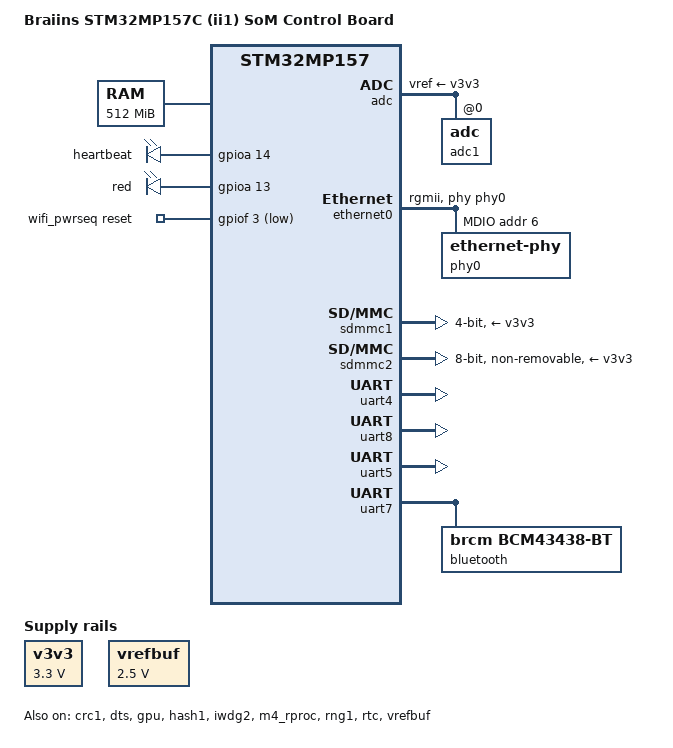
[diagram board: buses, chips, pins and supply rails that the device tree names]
// SPDX-License-Identifier: (GPL-2.0+ OR BSD-3-Clause)
/*
 * Copyright (C) STMicroelectronics 2018 - All Rights Reserved
 * Author: Alexandre Torgue <alexandre.torgue@st.com>.
 */

/dts-v1/;

#include "stm32mp157.dtsi"
#include "stm32mp15xa.dtsi"
#include "stm32mp157c-ii1_som-pinctrl.dtsi"
#include "stm32mp15xxac-pinctrl.dtsi"
#include "stm32mp15-m4-srm.dtsi"

/ {
	model = "Braiins STM32MP157C (ii1) SoM Control Board";
	compatible = "braiins,ii1-stm\0st,stm32mp157";

	aliases {
		ethernet0 = &ethernet0;
		serial0 = &uart4;
		serial2 = &uart8;//rs232
		serial3 = &uart5;//rs485
		serial4 = &uart7;//bt
	};

	chosen {
		stdout-path = "serial0:115200n8";
	};

	memory@c0000000 {
		device_type = "memory";
		reg = <0xc0000000 0x20000000>;
	};

	reserved-memory {
		#address-cells = <1>;
		#size-cells = <1>;
		ranges;

		mcuram2: mcuram2@10000000 {
			compatible = "shared-dma-pool";
			reg = <0x10000000 0x40000>;
			no-map;
		};

		vdev0vring0: vdev0vring0@10040000 {
			compatible = "shared-dma-pool";
			reg = <0x10040000 0x1000>;
			no-map;
		};

		vdev0vring1: vdev0vring1@10041000 {
			compatible = "shared-dma-pool";
			reg = <0x10041000 0x1000>;
			no-map;
		};

		vdev0buffer: vdev0buffer@10042000 {
			compatible = "shared-dma-pool";
			reg = <0x10042000 0x4000>;
			no-map;
		};

		mcuram: mcuram@30000000 {
			compatible = "shared-dma-pool";
			reg = <0x30000000 0x40000>;
			no-map;
		};

		retram: retram@38000000 {
			compatible = "shared-dma-pool";
			reg = <0x38000000 0x10000>;
			no-map;
		};

		gpu_reserved: gpu@da000000 {
			reg = <0xda000000 0x4000000>;
			no-map;
		};
	};

	led {
		compatible = "gpio-leds";
		led-blue {
			label = "heartbeat";
			gpios = <&gpioa 14 GPIO_ACTIVE_HIGH>;
			linux,default-trigger = "heartbeat";
			default-state = "off";
		};

		led-red {
			label = "red";
			gpios = <&gpioa 13 GPIO_ACTIVE_HIGH>;
			linux,default-trigger = "none";
			status = "okay";
		};
	};

	v3v3: regulator-v3v3 {
		compatible = "regulator-fixed";
		regulator-name = "v3v3";
		regulator-min-microvolt = <3300000>;
		regulator-max-microvolt = <3300000>;
		regulator-always-on;
	};

	wifi_pwrseq: wifi-pwrseq {
		compatible = "mmc-pwrseq-simple";
		reset-gpios = <&gpiof 3 GPIO_ACTIVE_LOW>;
	};
};

&adc {
	pinctrl-names = "default";
	pinctrl-0 = <&adc1_in6_pins_a>;
	vdd-supply = <&v3v3>;
	vdda-supply = <&v3v3>;
	vref-supply = <&v3v3>;
	status = "okay";

	adc1: adc@0 {
		st,min-sample-time-nsecs = <10000>;
		st,adc-channels = <6>;
		status = "okay";
	};

	adc2: adc@100 {
		status = "disable";
	};

	adc_temp: temp {
		status = "okay";
	};
};

&crc1 {
	status = "okay";
};

/*
&dma1 {
	sram = <&dma_pool>;
};

&dma2 {
	sram = <&dma_pool>;
};
*/

&dts {
	status = "okay";
};

/*g ethernet*/
&ethernet0 {
	status = "okay";
	pinctrl-0 = <&ethernet0_rgmii_pins_a>;
	pinctrl-1 = <&ethernet0_rgmii_sleep_pins_a>;
	pinctrl-names = "default", "sleep";
	phy-mode = "rgmii";
	max-speed = <1000>;
	phy-handle = <&phy0>;

	mdio0 {
		#address-cells = <1>;
		#size-cells = <0>;
		compatible = "snps,dwmac-mdio";
		phy0: ethernet-phy@6 {
			reg = <6>;
		};
	};
};

&gpu {
	contiguous-area = <&gpu_reserved>;
	status = "okay";
};

&hash1 {
	status = "okay";
};


&ipcc {
	status = "okay";
};

/*watch dog*/
&iwdg2 {
	timeout-sec = <32>;
	status = "okay";
};

&m4_dma1 {
	status = "okay";
};

&m4_dma2 {
	status = "okay";
};

&m4_rproc {
	memory-region = <&retram>, <&mcuram>, <&mcuram2>, <&vdev0vring0>,
			<&vdev0vring1>, <&vdev0buffer>;
	mboxes = <&ipcc 0>, <&ipcc 1>, <&ipcc 2>;
	mbox-names = "vq0", "vq1", "shutdown";
	interrupt-parent = <&exti>;
	interrupts = <68 1>;
	wakeup-source;
	status = "okay";
};

&rng1 {
	status = "okay";
};

/*rtc*/
&rtc {
	status = "okay";
};

/*SD card*/
&sdmmc1 {
	pinctrl-names = "default", "opendrain", "sleep";
	pinctrl-0 = <&sdmmc1_b4_pins_a>;
	pinctrl-1 = <&sdmmc1_b4_od_pins_a>;
	pinctrl-2 = <&sdmmc1_b4_sleep_pins_a>;
	broken-cd;
	st,neg-edge;
	bus-width = <4>;
	vmmc-supply = <&v3v3>;
	status = "okay";
};

/*emmc*/
&sdmmc2 {
	pinctrl-names = "default", "opendrain", "sleep";
	pinctrl-0 = <&sdmmc2_b4_pins_a &sdmmc2_d47_pins_a>;
	pinctrl-1 = <&sdmmc2_b4_od_pins_a &sdmmc2_d47_pins_a>;
	pinctrl-2 = <&sdmmc2_b4_sleep_pins_a &sdmmc2_d47_sleep_pins_a>;
	non-removable;
	no-sd;
	no-sdio;
	st,neg-edge;
	bus-width = <8>;
	mmc-ddr-3_3v;
	vmmc-supply = <&v3v3>;
	vqmmc-supply = <&v3v3>;
	status = "okay";
};

/*Wifi*/
&sdmmc3 {
	arm,primecell-periphid = <0x10153180>;
	pinctrl-names = "default", "opendrain", "sleep";
	pinctrl-0 = <&sdmmc3_b4_pins_a>;
	pinctrl-1 = <&sdmmc3_b4_od_pins_a>;
	pinctrl-2 = <&sdmmc3_b4_sleep_pins_a>;
	non-removable;
	st,neg-edge;
	bus-width = <4>;
	vmmc-supply = <&v3v3>;
	mmc-pwrseq = <&wifi_pwrseq>;
	keep-power-in-suspend;
	status = "disabled";

	#address-cells = <1>;
	#size-cells = <0>;

	brcmf: bcrmf@1 {
		compatible = "brcm,bcm4329-fmac";
		reg = <1>;
	};
};

&sram {
	dma_pool: dma_pool@0 {
		reg = <0x50000 0x10000>;
		pool;
	};
};

&timers1 {
	/* spare dmas for other usage */
	/delete-property/dmas;
	/delete-property/dma-names;
	status = "disabled";
	pwm {
		pinctrl-0 = <&pwm1_pins_a>;
		pinctrl-1 = <&pwm1_sleep_pins_a>;
		pinctrl-names = "default", "sleep";
		status = "okay";
	};
	timer@0 {
		status = "okay";
	};
};

&timers3 {
	/delete-property/dmas;
	/delete-property/dma-names;
	status = "disabled";
	pwm {
		pinctrl-0 = <&pwm3_pins_a>;
		pinctrl-1 = <&pwm3_sleep_pins_a>;
		pinctrl-names = "default", "sleep";
		status = "okay";
	};
	timer@2 {
		status = "okay";
	};
};

&timers5 {
	/delete-property/dmas;
	/delete-property/dma-names;
	status = "disabled";
	pwm {
		pinctrl-0 = <&pwm5_pins_a>;
		pinctrl-1 = <&pwm5_sleep_pins_a>;
		pinctrl-names = "default", "sleep";
		status = "okay";
	};
	timer@4 {
		status = "okay";
	};
};

&timers6 {
	/delete-property/dmas;
	/delete-property/dma-names;
	status = "disabled";
	timer@5 {
		status = "okay";
	};
};

&timers12 {
	/delete-property/dmas;
	/delete-property/dma-names;
	status = "disabled";
	pwm {
		pinctrl-0 = <&pwm12_pins_a>;
		pinctrl-1 = <&pwm12_sleep_pins_a>;
		pinctrl-names = "default", "sleep";
		status = "okay";
	};
	timer@11 {
		status = "okay";
	};
};

/*DEBUG*/
&uart4 {
	pinctrl-names = "default", "sleep", "idle";
	pinctrl-0 = <&uart4_pins_a>;
	pinctrl-1 = <&uart4_sleep_pins_a>;
	pinctrl-2 = <&uart4_idle_pins_a>;
	pinctrl-3 = <&uart4_pins_a>;
	/delete-property/dmas;
	/delete-property/dma-names;
	status = "okay";
};

/*rs232*/
&uart8 {
	pinctrl-names = "default", "sleep";
	pinctrl-0 = <&uart8_pins_mx>;
	pinctrl-1 = <&uart8_sleep_pins_mx>;
	status = "okay";
};

/*rs485*/
&uart5 {
	pinctrl-names = "default", "sleep","idle";
	pinctrl-0 = <&uart5_pins_a>;
	pinctrl-1 = <&uart5_sleep_pins_a>;
	pinctrl-2 = <&uart5_idle_pins_a>;
	/delete-property/dmas;
	/delete-property/dma-names;
	status = "okay";
};

/* Bluetooth */
&uart7 {
	pinctrl-names = "default", "sleep", "idle";
	pinctrl-0 = <&uart7_pins_myir>;
	pinctrl-1 = <&uart7_sleep_pins_myir>;
	pinctrl-2 = <&uart7_idle_pins_myir>;
	uart-has-rtscts;
	status = "okay";

	bluetooth {
		compatible = "brcm,bcm43438-bt";
		pinctrl-names = "default";
		pinctrl-0 = <&btreg0>;
		max-speed = <3000000>;
	};
};

&vrefbuf {
	regulator-min-microvolt = <2500000>;
	regulator-max-microvolt = <2500000>;
	vdda-supply = <&v3v3>;
	status = "okay";
};
